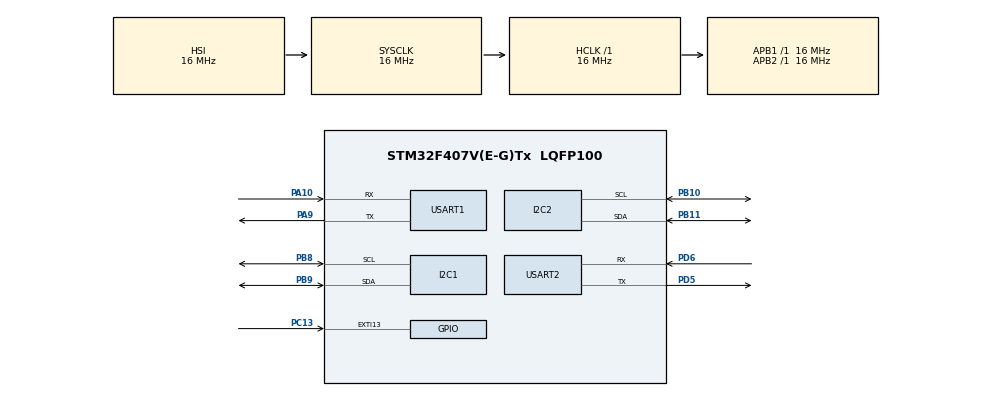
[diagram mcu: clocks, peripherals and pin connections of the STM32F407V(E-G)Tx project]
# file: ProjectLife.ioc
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Mcu.Family=STM32F4
Mcu.Name=STM32F407V(E-G)Tx
Mcu.Package=LQFP100
NVIC.EXTI15_10_IRQn=true\:0\:0\:false\:false\:true\:true\:true\:true
NVIC.PriorityGroup=NVIC_PRIORITYGROUP_4
NVIC.RTC_WKUP_IRQn=true\:0\:0\:false\:false\:true\:true\:true\:true
NVIC.TIM1_BRK_TIM9_IRQn=true\:0\:0\:false\:false\:true\:true\:true\:true
NVIC.TIM1_CC_IRQn=true\:0\:0\:false\:false\:true\:true\:true\:true
NVIC.TIM1_TRG_COM_TIM11_IRQn=true\:0\:0\:false\:false\:true\:true\:true\:true
NVIC.TIM1_UP_TIM10_IRQn=true\:0\:0\:false\:false\:true\:true\:true\:true
NVIC.USART2_IRQn=true\:0\:0\:false\:false\:true\:true\:true\:true
PA10.Mode=Asynchronous
PA10.Signal=USART1_RX
PA9.Mode=Asynchronous
PA9.Signal=USART1_TX
PB10.Mode=I2C
PB10.Signal=I2C2_SCL
PB11.Mode=I2C
PB11.Signal=I2C2_SDA
PB8.Mode=I2C
PB8.Signal=I2C1_SCL
PB9.Mode=I2C
PB9.Signal=I2C1_SDA
PC13-ANTI_TAMP.GPIO_PuPd=GPIO_PULLDOWN
PC13-ANTI_TAMP.Signal=GPXTI13
PD5.Mode=Asynchronous
PD5.Signal=USART2_TX
PD6.Mode=Asynchronous
PD6.Signal=USART2_RX
ProjectManager.HeapSize=0x800
ProjectManager.StackSize=0x800
ProjectManager.TargetToolchain=STM32CubeIDE
RCC.AHBFreq_Value=16000000
RCC.APB1Freq_Value=16000000
RCC.APB2Freq_Value=16000000
RCC.CortexFreq_Value=16000000
RCC.HSE_VALUE=25000000
RCC.HSI_VALUE=16000000
RCC.LSE_VALUE=32768
RCC.SYSCLKFreq_VALUE=16000000
RCC.VCOOutputFreq_Value=192000000
RTC.WakeUpCounter=0x500B
STMicroelectronics.X-CUBE-AI.7.3.0.ActivationBufferSizeList=1708
STMicroelectronics.X-CUBE-AI.7.3.0.ActivationBuffers=pool0
STMicroelectronics.X-CUBE-AI.7.3.0.ActivationNames=pool0
STMicroelectronics.X-CUBE-AI.7.3.0.ActivationSizes=AI_NETWORK_DATA_ACTIVATION_1_SIZE
STMicroelectronics.X-CUBE-AI.7.3.0.HeapSize=0x800
STMicroelectronics.X-CUBE-AI.7.3.0.InternalRamActivationBufferMaxSize=AI_NETWORK_DATA_ACTIVATIONS_SIZE
STMicroelectronics.X-CUBE-AI.7.3.0.LatestDirectoryUsed-63249d8577857bed8de1e4a876e3fa851de891baf00e79e736e3a9d4aee06afe=D\:\\UTM\\Sem1\\MKEL1123-05 ADVANCED MICROPROCESSOR SYSTEM\\Assignment_Video
STMicroelectronics.X-CUBE-AI.7.3.0.MaximumNumberOfInputLayer=1
STMicroelectronics.X-CUBE-AI.7.3.0.MaximumNumberOfOutputLayer=1
STMicroelectronics.X-CUBE-AI.7.3.0.MaximumSizeOfInputLayer=1
STMicroelectronics.X-CUBE-AI.7.3.0.MaximumSizeOfOutputLayer=1
STMicroelectronics.X-CUBE-AI.7.3.0.ModelActualCompression-63249d8577857bed8de1e4a876e3fa851de891baf00e79e736e3a9d4aee06afe=0.0
STMicroelectronics.X-CUBE-AI.7.3.0.ModelCompression-63249d8577857bed8de1e4a876e3fa851de891baf00e79e736e3a9d4aee06afe=None
STMicroelectronics.X-CUBE-AI.7.3.0.ModelFlashOccupation-63249d8577857bed8de1e4a876e3fa851de891baf00e79e736e3a9d4aee06afe=48300
STMicroelectronics.X-CUBE-AI.7.3.0.ModelHashList=63249d8577857bed8de1e4a876e3fa851de891baf00e79e736e3a9d4aee06afe
STMicroelectronics.X-CUBE-AI.7.3.0.ModelKind-63249d8577857bed8de1e4a876e3fa851de891baf00e79e736e3a9d4aee06afe=KERAS
STMicroelectronics.X-CUBE-AI.7.3.0.ModelMacc-63249d8577857bed8de1e4a876e3fa851de891baf00e79e736e3a9d4aee06afe=24120
STMicroelectronics.X-CUBE-AI.7.3.0.ModelName-63249d8577857bed8de1e4a876e3fa851de891baf00e79e736e3a9d4aee06afe=network
STMicroelectronics.X-CUBE-AI.7.3.0.ModelNameList=network
STMicroelectronics.X-CUBE-AI.7.3.0.ModelRamOccupation-63249d8577857bed8de1e4a876e3fa851de891baf00e79e736e3a9d4aee06afe=1708
STMicroelectronics.X-CUBE-AI.7.3.0.ModelStructureFile-63249d8577857bed8de1e4a876e3fa851de891baf00e79e736e3a9d4aee06afe=D\:\\UTM\\Sem1\\MKEL1123-05 ADVANCED MICROPROCESSOR SYSTEM\\Assignment_Video\\accelerometer_model.h5
STMicroelectronics.X-CUBE-AI.7.3.0.ModelType-63249d8577857bed8de1e4a876e3fa851de891baf00e79e736e3a9d4aee06afe=Saved model
STMicroelectronics.X-CUBE-AI.7.3.0.ReadyForCodeGeneration=true
STMicroelectronics.X-CUBE-AI.7.3.0.StackSize=0x800
STMicroelectronics.X-CUBE-AI.7.3.0.WorkingBufferStartAddrList=0xFFFFFFFF
STMicroelectronics.X-CUBE-AI.7.3.0.XAaCUBEAaAICcArtificialOoIntelligenceJjCore=true
STMicroelectronics.X-CUBE-AI.7.3.0.copyWeightToRam=false
STMicroelectronics.X-CUBE-AI.7.3.0.copyWeightToRam-63249d8577857bed8de1e4a876e3fa851de891baf00e79e736e3a9d4aee06afe=false
STMicroelectronics.X-CUBE-AI.7.3.0.customLayerConfigEnabled=false
STMicroelectronics.X-CUBE-AI.7.3.0.customLayerConfigEnabled-63249d8577857bed8de1e4a876e3fa851de891baf00e79e736e3a9d4aee06afe=false
STMicroelectronics.X-CUBE-AI.7.3.0.useInputAllocation=true
STMicroelectronics.X-CUBE-AI.7.3.0.useInputAllocation-63249d8577857bed8de1e4a876e3fa851de891baf00e79e736e3a9d4aee06afe=true
STMicroelectronics.X-CUBE-AI.7.3.0.useOutputAllocation=true
STMicroelectronics.X-CUBE-AI.7.3.0.useOutputAllocation-63249d8577857bed8de1e4a876e3fa851de891baf00e79e736e3a9d4aee06afe=true
TIM1.Period=50
TIM1.Prescaler=32000
USART1.VirtualMode=VM_ASYNC
USART2.VirtualMode=VM_ASYNC
VP_CRC_VS_CRC.Mode=CRC_Activate
VP_RTC_VS_RTC_Activate.Mode=RTC_Enabled
VP_RTC_VS_RTC_WakeUp_intern.Mode=WakeUp
VP_STMicroelectronics.X-CUBE-AI_VS_ArtificialOoIntelligenceJjXAaCUBEAaAI_7.3.0.Mode=ArtificialOoIntelligenceJjXAaCUBEAaAI
VP_TIM1_VS_ClockSourceINT.Mode=Internal
board=custom

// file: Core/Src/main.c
/* USER CODE BEGIN Header */
/**
  ******************************************************************************
  * @file           : main.c
  * @brief          : Main program body
  ******************************************************************************
  * @attention
  *
  * Copyright (c) 2023 STMicroelectronics.
  * All rights reserved.
  *
  * This software is licensed under terms that can be found in the LICENSE file
  * in the root directory of this software component.
  * If no LICENSE file comes with this software, it is provided AS-IS.
  *
  ******************************************************************************
  */
/* USER CODE END Header */
#include "main.h"

/* USER CODE BEGIN Includes */
#include <stdio.h>
#include <stdbool.h>
#include "MAX30102/MAX30102.h"
#include "ai_platform.h"
#include "network.h"
#include "network_data.h"
#include "EspDataLogger/espdatalogger.h"
/* USER CODE END Includes */

CRC_HandleTypeDef hcrc;

I2C_HandleTypeDef hi2c1;
I2C_HandleTypeDef hi2c2;

RTC_HandleTypeDef hrtc;

TIM_HandleTypeDef htim1;

UART_HandleTypeDef huart1;
UART_HandleTypeDef huart2;

/* USER CODE BEGIN PV */
//MPU6050 Gyroscope and Accelerometer Variables
#define MPU6050_ADDR 0xD0
#define SMPLRT_DIV_REG 0x19
#define GYRO_CONFIG_REG 0x1B
#define ACCEL_CONFIG_REG 0x1C
#define ACCEL_XOUT_H_REG 0x3B
#define TEMP_OUT_H_REG 0x41
#define GYRO_XOUT_H_REG 0x43
#define PWR_MGMT_1_REG 0x6B
#define WHO_AM_I_REG 0x75

int16_t Accel_X_RAW = 0;
int16_t Accel_Y_RAW = 0;
int16_t Accel_Z_RAW = 0;
float Ax, Ay, Az;

//UART Variables
uint8_t dataBuf [50] = {'\0'}; // variable to stored the data to be transmitted
bool buttonstate = true;

//AI Model Variables
ai_handle network;
float aiInData[AI_NETWORK_IN_1_SIZE];
float aiOutData[AI_NETWORK_OUT_1_SIZE];
ai_u8 activations[AI_NETWORK_DATA_ACTIVATIONS_SIZE];
const char* activities[AI_NETWORK_OUT_1_SIZE] = {
  "stationary", "walking", "running"
};
ai_buffer * ai_input;
ai_buffer * ai_output;

//MAX30102 Oximeter and Heart Rate Sensor Variables
int32_t HRData, SPO2Data = 0;
/* USER CODE END PV */

void SystemClock_Config(void);
static void MX_GPIO_Init(void);
static void MX_I2C1_Init(void);
static void MX_USART1_UART_Init(void);
static void MX_USART2_UART_Init(void);
static void MX_TIM1_Init(void);
static void MX_I2C2_Init(void);
static void MX_CRC_Init(void);
static void MX_RTC_Init(void);
/* USER CODE BEGIN PFP */
//MPU6050 Gyroscope and Accelerometer Functions
void MPU6050_Init (void);
void MPU6050_Read_Accel (void);
//AI Model Functions
static void AI_Init(void);
static void AI_Run(float *pIn, float *pOut);
static uint32_t argmax(const float * values, uint32_t len);
uint32_t write_index = 0;
//MAX30102 Oximeter and Heart Rate Sensor Functions
void MAX30102_PollingRoutine(void);
//Thingspeak Data Variable
uint32_t Value_Buf [4];
/* USER CODE END PFP */

int main(void)
{

  /* MCU Configuration--------------------------------------------------------*/

  /* Reset of all peripherals, Initializes the Flash interface and the Systick. */
  HAL_Init();

  /* Configure the system clock */
  SystemClock_Config();

  /* Initialize all configured peripherals */
  MX_GPIO_Init();
  MX_I2C1_Init();
  MX_USART1_UART_Init();
  MX_USART2_UART_Init();
  MX_TIM1_Init();
  MX_I2C2_Init();
  MX_CRC_Init();
  MX_RTC_Init();
  /* USER CODE BEGIN 2 */
  HAL_Delay(10000);
  //MPU6050 Gyroscope and Accelerometer Initialization
  bufclr((char*)dataBuf);
  sprintf ((char*)dataBuf, "MPU6050 Init\r\n");
  HAL_UART_Transmit (& huart1 , dataBuf , sizeof ( dataBuf ) , 50) ;
  MPU6050_Init();

  //MAX30102 Oximeter and Heart Rate Sensor Initialization
  bufclr((char*)dataBuf);
  sprintf ((char*)dataBuf, "MAX30102 Init\r\n");
  HAL_UART_Transmit (& huart1 , dataBuf , sizeof ( dataBuf ) , 50) ;
  Max30102_Init(&hi2c2);
  //AI Model Initialization
  bufclr((char*)dataBuf);
  sprintf ((char*)dataBuf, "AI Init\r\n");
  HAL_UART_Transmit (& huart1 , dataBuf , sizeof ( dataBuf ) , 50) ;
  AI_Init();
  //ESP8266 Initialization (SSID, PASSWORD)
  bufclr((char*)dataBuf);
  sprintf ((char*)dataBuf, "ESP WIFI Init\r\n");
  HAL_UART_Transmit (& huart1 , dataBuf , sizeof ( dataBuf ) , 50) ;
  ESP_Init("OnePlus", "123456789");
  bufclr((char*)dataBuf);
  sprintf ((char*)dataBuf, "MAX30102 Calibration\r\n");
  HAL_UART_Transmit (& huart1 , dataBuf , sizeof ( dataBuf ) , 50) ;
  while(HRData == 0){
	  MAX30102_PollingRoutine();
  }

  /* USER CODE END 2 */

  /* Infinite loop */
  while (1)
  {

    /* USER CODE BEGIN 3 */
	while (write_index < AI_NETWORK_IN_1_SIZE){

		MPU6050_Read_Accel(); // read acceleration data from MPU6050
		//sprintf ((char*)dataBuf, "Ax:%5d Ay:%5d Az:%5d\r\n", (int) Ax, (int) Ay, (int) Az);
		//HAL_UART_Transmit (& huart1 , dataBuf , sizeof ( dataBuf ) , 50) ; // transmit the data

		//while(SPO2Data == 0){
			MAX30102_PollingRoutine();
		//}

		/* Normalize data to [-1; 1] and accumulate into input buffer */
		/* Note: window overlapping can be managed here */
		aiInData[write_index + 0] = (float) Ax;
		aiInData[write_index + 1] = (float) Ay;
		aiInData[write_index + 2] = (float) Az;
		write_index += 3;

		if (write_index == AI_NETWORK_IN_1_SIZE) {
		  //write_index = 0;

		  bufclr((char*)dataBuf);
		  sprintf ((char*)dataBuf, "Running inference\r\n");
		  HAL_UART_Transmit (& huart1 , dataBuf , sizeof ( dataBuf ) , 50) ; // transmit the data
		  AI_Run(aiInData, aiOutData);

		  /* Output results */
		  for (uint32_t i = 0; i < AI_NETWORK_OUT_1_SIZE; i++) {
			bufclr((char*)dataBuf);
			sprintf ((char*)dataBuf, "%8.6f ", aiOutData[i]);
			HAL_UART_Transmit (& huart1 , dataBuf , sizeof ( dataBuf ) , 50) ; // transmit the data
		  }
		  uint32_t class = argmax(aiOutData, AI_NETWORK_OUT_1_SIZE);
		  bufclr((char*)dataBuf);
		  sprintf ((char*)dataBuf, ": %d - %s\r\n", (int) class, activities[class]);
		  HAL_UART_Transmit (& huart1 , dataBuf , sizeof ( dataBuf ) , 50) ; // transmit the data
		  Value_Buf[2] = class;
		}

		//Values to send to ThingSpeak
		  Value_Buf[0] = HRData;
		  Value_Buf[1] = SPO2Data;
		  Value_Buf[3] = buttonstate;
	}
	  //Refresh ai inference variable
	  write_index = 0;
	  bufclr((char*)dataBuf);
	  sprintf ((char*)dataBuf, "%d %d %d %d\r\n", (int)Value_Buf[0], (int)Value_Buf[1], (int)Value_Buf[2], (int)Value_Buf[3]);
	  HAL_UART_Transmit (& huart1 , dataBuf , sizeof ( dataBuf ) , 50);

	  // Thingspeak limitation - requires 15seconds before updating
	  if(buttonstate == false){
		  HAL_Delay(15000);
	  }

	  ESP_Send_Multi("E8OJOQ3OMRFVJZUP", 4, (int*)Value_Buf);

	  //Change Emergency Button state after uploading it to Thingspeak
	  if(buttonstate == false){
		  buttonstate = true;
	  }

	  //HAL_Delay (15000) ; // wait for 15s before reading the sensor again
	  bufclr((char*)dataBuf);
	  sprintf ((char*)dataBuf, "Enter STOP Mode\r\n");
	  HAL_UART_Transmit (& huart1 , dataBuf , sizeof ( dataBuf ) , 50);
	  //Power Enter Stop Mode - Wake up after 15 seconds
	  HAL_SuspendTick();
	  HAL_RTCEx_SetWakeUpTimer_IT(&hrtc, 0x7530, RTC_WAKEUPCLOCK_RTCCLK_DIV16);
	  HAL_PWREx_EnableFlashPowerDown();
	  HAL_PWR_EnterSTOPMode(PWR_LOWPOWERREGULATOR_ON, PWR_STOPENTRY_WFI);
	  HAL_RTCEx_DeactivateWakeUpTimer(&hrtc);
	  HAL_PWREx_DisableFlashPowerDown();
	  SystemClock_Config();
	  //Power Exit Stop Mode
	  HAL_ResumeTick();
	  bufclr((char*)dataBuf);
	  sprintf ((char*)dataBuf, "Exit STOP Mode\r\n");
	  HAL_UART_Transmit (& huart1 , dataBuf , sizeof ( dataBuf ) , 50);

  }
  /* USER CODE END 3 */
}

void SystemClock_Config(void)
{
  RCC_OscInitTypeDef RCC_OscInitStruct = {0};
  RCC_ClkInitTypeDef RCC_ClkInitStruct = {0};

  /** Configure the main internal regulator output voltage
  */
  __HAL_RCC_PWR_CLK_ENABLE();
  __HAL_PWR_VOLTAGESCALING_CONFIG(PWR_REGULATOR_VOLTAGE_SCALE1);

  /** Initializes the RCC Oscillators according to the specified parameters
  * in the RCC_OscInitTypeDef structure.
  */
  RCC_OscInitStruct.OscillatorType = RCC_OSCILLATORTYPE_HSI|RCC_OSCILLATORTYPE_LSI;
  RCC_OscInitStruct.HSIState = RCC_HSI_ON;
  RCC_OscInitStruct.HSICalibrationValue = RCC_HSICALIBRATION_DEFAULT;
  RCC_OscInitStruct.LSIState = RCC_LSI_ON;
  RCC_OscInitStruct.PLL.PLLState = RCC_PLL_NONE;
  if (HAL_RCC_OscConfig(&RCC_OscInitStruct) != HAL_OK)
  {
    Error_Handler();
  }

  /** Initializes the CPU, AHB and APB buses clocks
  */
  RCC_ClkInitStruct.ClockType = RCC_CLOCKTYPE_HCLK|RCC_CLOCKTYPE_SYSCLK
                              |RCC_CLOCKTYPE_PCLK1|RCC_CLOCKTYPE_PCLK2;
  RCC_ClkInitStruct.SYSCLKSource = RCC_SYSCLKSOURCE_HSI;
  RCC_ClkInitStruct.AHBCLKDivider = RCC_SYSCLK_DIV1;
  RCC_ClkInitStruct.APB1CLKDivider = RCC_HCLK_DIV1;
  RCC_ClkInitStruct.APB2CLKDivider = RCC_HCLK_DIV1;

  if (HAL_RCC_ClockConfig(&RCC_ClkInitStruct, FLASH_LATENCY_0) != HAL_OK)
  {
    Error_Handler();
  }
}

static void MX_CRC_Init(void)
{

  hcrc.Instance = CRC;
  if (HAL_CRC_Init(&hcrc) != HAL_OK)
  {
    Error_Handler();
  }

}

static void MX_I2C1_Init(void)
{

  hi2c1.Instance = I2C1;
  hi2c1.Init.ClockSpeed = 100000;
  hi2c1.Init.DutyCycle = I2C_DUTYCYCLE_2;
  hi2c1.Init.OwnAddress1 = 0;
  hi2c1.Init.AddressingMode = I2C_ADDRESSINGMODE_7BIT;
  hi2c1.Init.DualAddressMode = I2C_DUALADDRESS_DISABLE;
  hi2c1.Init.OwnAddress2 = 0;
  hi2c1.Init.GeneralCallMode = I2C_GENERALCALL_DISABLE;
  hi2c1.Init.NoStretchMode = I2C_NOSTRETCH_DISABLE;
  if (HAL_I2C_Init(&hi2c1) != HAL_OK)
  {
    Error_Handler();
  }

}

static void MX_I2C2_Init(void)
{

  hi2c2.Instance = I2C2;
  hi2c2.Init.ClockSpeed = 100000;
  hi2c2.Init.DutyCycle = I2C_DUTYCYCLE_2;
  hi2c2.Init.OwnAddress1 = 0;
  hi2c2.Init.AddressingMode = I2C_ADDRESSINGMODE_7BIT;
  hi2c2.Init.DualAddressMode = I2C_DUALADDRESS_DISABLE;
  hi2c2.Init.OwnAddress2 = 0;
  hi2c2.Init.GeneralCallMode = I2C_GENERALCALL_DISABLE;
  hi2c2.Init.NoStretchMode = I2C_NOSTRETCH_DISABLE;
  if (HAL_I2C_Init(&hi2c2) != HAL_OK)
  {
    Error_Handler();
  }

}

static void MX_RTC_Init(void)
{

  RTC_TimeTypeDef sTime = {0};
  RTC_DateTypeDef sDate = {0};

  /** Initialize RTC Only
  */
  hrtc.Instance = RTC;
  hrtc.Init.HourFormat = RTC_HOURFORMAT_24;
  hrtc.Init.AsynchPrediv = 127;
  hrtc.Init.SynchPrediv = 255;
  hrtc.Init.OutPut = RTC_OUTPUT_DISABLE;
  hrtc.Init.OutPutPolarity = RTC_OUTPUT_POLARITY_HIGH;
  hrtc.Init.OutPutType = RTC_OUTPUT_TYPE_OPENDRAIN;
  if (HAL_RTC_Init(&hrtc) != HAL_OK)
  {
    Error_Handler();
  }

  /** Initialize RTC and set the Time and Date
  */
  sTime.Hours = 0x0;
  sTime.Minutes = 0x0;
  sTime.Seconds = 0x0;
  sTime.DayLightSaving = RTC_DAYLIGHTSAVING_NONE;
  sTime.StoreOperation = RTC_STOREOPERATION_RESET;
  if (HAL_RTC_SetTime(&hrtc, &sTime, RTC_FORMAT_BCD) != HAL_OK)
  {
    Error_Handler();
  }
  sDate.WeekDay = RTC_WEEKDAY_MONDAY;
  sDate.Month = RTC_MONTH_JANUARY;
  sDate.Date = 0x1;
  sDate.Year = 0x0;

  if (HAL_RTC_SetDate(&hrtc, &sDate, RTC_FORMAT_BCD) != HAL_OK)
  {
    Error_Handler();
  }

  /** Enable the WakeUp
  */
  if (HAL_RTCEx_SetWakeUpTimer_IT(&hrtc, 0x500B, RTC_WAKEUPCLOCK_RTCCLK_DIV16) != HAL_OK)
  {
    Error_Handler();
  }

}

static void MX_TIM1_Init(void)
{

  TIM_ClockConfigTypeDef sClockSourceConfig = {0};
  TIM_MasterConfigTypeDef sMasterConfig = {0};

  htim1.Instance = TIM1;
  htim1.Init.Prescaler = 32000;
  htim1.Init.CounterMode = TIM_COUNTERMODE_UP;
  htim1.Init.Period = 50;
  htim1.Init.ClockDivision = TIM_CLOCKDIVISION_DIV1;
  htim1.Init.RepetitionCounter = 0;
  htim1.Init.AutoReloadPreload = TIM_AUTORELOAD_PRELOAD_DISABLE;
  if (HAL_TIM_Base_Init(&htim1) != HAL_OK)
  {
    Error_Handler();
  }
  sClockSourceConfig.ClockSource = TIM_CLOCKSOURCE_INTERNAL;
  if (HAL_TIM_ConfigClockSource(&htim1, &sClockSourceConfig) != HAL_OK)
  {
    Error_Handler();
  }
  sMasterConfig.MasterOutputTrigger = TIM_TRGO_RESET;
  sMasterConfig.MasterSlaveMode = TIM_MASTERSLAVEMODE_DISABLE;
  if (HAL_TIMEx_MasterConfigSynchronization(&htim1, &sMasterConfig) != HAL_OK)
  {
    Error_Handler();
  }

}

static void MX_USART1_UART_Init(void)
{

  huart1.Instance = USART1;
  huart1.Init.BaudRate = 115200;
  huart1.Init.WordLength = UART_WORDLENGTH_8B;
  huart1.Init.StopBits = UART_STOPBITS_1;
  huart1.Init.Parity = UART_PARITY_NONE;
  huart1.Init.Mode = UART_MODE_TX_RX;
  huart1.Init.HwFlowCtl = UART_HWCONTROL_NONE;
  huart1.Init.OverSampling = UART_OVERSAMPLING_16;
  if (HAL_UART_Init(&huart1) != HAL_OK)
  {
    Error_Handler();
  }

}

static void MX_USART2_UART_Init(void)
{

  huart2.Instance = USART2;
  huart2.Init.BaudRate = 115200;
  huart2.Init.WordLength = UART_WORDLENGTH_8B;
  huart2.Init.StopBits = UART_STOPBITS_1;
  huart2.Init.Parity = UART_PARITY_NONE;
  huart2.Init.Mode = UART_MODE_TX_RX;
  huart2.Init.HwFlowCtl = UART_HWCONTROL_NONE;
  huart2.Init.OverSampling = UART_OVERSAMPLING_16;
  if (HAL_UART_Init(&huart2) != HAL_OK)
  {
    Error_Handler();
  }

}

static void MX_GPIO_Init(void)
{
  GPIO_InitTypeDef GPIO_InitStruct = {0};

  /* GPIO Ports Clock Enable */
  __HAL_RCC_GPIOC_CLK_ENABLE();
  __HAL_RCC_GPIOB_CLK_ENABLE();
  __HAL_RCC_GPIOA_CLK_ENABLE();
  __HAL_RCC_GPIOD_CLK_ENABLE();

  /*Configure GPIO pin : PC13 */
  GPIO_InitStruct.Pin = GPIO_PIN_13;
  GPIO_InitStruct.Mode = GPIO_MODE_IT_RISING;
  GPIO_InitStruct.Pull = GPIO_PULLDOWN;
  HAL_GPIO_Init(GPIOC, &GPIO_InitStruct);

  /* EXTI interrupt init*/
  HAL_NVIC_SetPriority(EXTI15_10_IRQn, 0, 0);
  HAL_NVIC_EnableIRQ(EXTI15_10_IRQn);

}

/* USER CODE BEGIN 4 */

//MPU6050 Init Function
void MPU6050_Init (void)
{
	uint8_t check;
	uint8_t Data;

	// check device ID WHO_AM_I
	HAL_I2C_Mem_Read (&hi2c1, MPU6050_ADDR, WHO_AM_I_REG, 1, &check, 1, 1000);
	//checkGlobal = check;

	if (check == 104)  // 0x68 will be returned by the sensor if everything goes well
	{
		// power management register 0X6B we should write all 0's to wake the sensor up
		Data = 0;
		HAL_I2C_Mem_Write(&hi2c1, MPU6050_ADDR, PWR_MGMT_1_REG, 1, &Data, 1, 1000);

		// Set DATA RATE of 1KHz by writing SMPLRT_DIV register
		Data = 0x07;
		HAL_I2C_Mem_Write(&hi2c1, MPU6050_ADDR, SMPLRT_DIV_REG, 1, &Data, 1, 1000);

		// Set accelerometer configuration in ACCEL_CONFIG Register
		// XA_ST=0,YA_ST=0,ZA_ST=0, FS_SEL=0 -> ± 2g
		//Data = 0x00;
		Data = 0x18; //FS_SEL=3 -> ± 16g
		HAL_I2C_Mem_Write(&hi2c1, MPU6050_ADDR, ACCEL_CONFIG_REG, 1, &Data, 1, 1000);

		// Set Gyroscopic configuration in GYRO_CONFIG Register
		// XG_ST=0,YG_ST=0,ZG_ST=0, FS_SEL=0 -> ± 250 °/s
		Data = 0x00;
		HAL_I2C_Mem_Write(&hi2c1, MPU6050_ADDR, GYRO_CONFIG_REG, 1, &Data, 1, 1000);
	}
}
//MPU6050 Read Acceleration Data Function
void MPU6050_Read_Accel (void)
{
	uint8_t Rec_Data[6];
	// Read 6 BYTES of data starting from ACCEL_XOUT_H register
	HAL_I2C_Mem_Read (&hi2c1, MPU6050_ADDR, ACCEL_XOUT_H_REG, 1, Rec_Data, 6, 1000);

	Accel_X_RAW = (int16_t)(Rec_Data[0] << 8 | Rec_Data [1]);
	Accel_Y_RAW = (int16_t)(Rec_Data[2] << 8 | Rec_Data [3]);
	Accel_Z_RAW = (int16_t)(Rec_Data[4] << 8 | Rec_Data [5]);

	/*** convert the RAW values into acceleration in 'g'
	     we have to divide according to the Full scale value set in FS_SEL
	     configured FS_SEL = 0. So dividing by 16384.0
	     for more details check ACCEL_CONFIG Register ****/

	Ax = Accel_X_RAW;
	Ay = Accel_Y_RAW;
	Az = Accel_Z_RAW;
	//Ax = Accel_X_RAW/117;
	//Ay = Accel_Y_RAW/10;
	//Az = Accel_Z_RAW/15;
	Ax = Accel_X_RAW/2048;
    Ay = Accel_Y_RAW/2048;
    Az = Accel_Z_RAW/2048;
}

//MPU6050 Read Acceleration Data Function
void MAX30102_PollingRoutine (void)
{
		Max30102_Callback();
		Max30102_Task();

	if (Max30102_IsFingerOnSensor() == MAX30102_OK){
	  if (Max30102_GetHeartRateValid() == 1){
		  HRData = Max30102_GetHeartRate();
	  }
	  else{
		  HRData = 0;
	  }

	  if (Max30102_GetSpO2Valid() == 1){
		  SPO2Data = Max30102_GetSpO2Value();
	  }
	  else{
		  SPO2Data = 0;
	  }

	  if (HRData > 0 || SPO2Data > 0){
		  bufclr((char*)dataBuf);
		  sprintf((char*)dataBuf, "HR: %lu SpO2: %lu\n\r", HRData, SPO2Data);
		  HAL_UART_Transmit (&huart1 , dataBuf , sizeof ( dataBuf ) , 50) ; // transmit the data
	  }
	}
}

static void AI_Init(void)
{
  ai_error err;

  /* Create a local array with the addresses of the activations buffers */
  const ai_handle act_addr[] = { activations };
  /* Create an instance of the model */
  err = ai_network_create_and_init(&network, act_addr, NULL);
  if (err.type != AI_ERROR_NONE) {
    printf("ai_network_create error - type=%d code=%d\r\n", err.type, err.code);
    Error_Handler();
  }
  ai_input = ai_network_inputs_get(network, NULL);
  ai_output = ai_network_outputs_get(network, NULL);
}

static void AI_Run(float *pIn, float *pOut)
{
  ai_i32 batch;
  ai_error err;

  /* Update IO handlers with the data payload */
  ai_input[0].data = AI_HANDLE_PTR(pIn);
  ai_output[0].data = AI_HANDLE_PTR(pOut);

  batch = ai_network_run(network, ai_input, ai_output);
  if (batch != 1) {
    err = ai_network_get_error(network);
    printf("AI ai_network_run error - type=%d code=%d\r\n", err.type, err.code);
    Error_Handler();
  }
}

static uint32_t argmax(const float * values, uint32_t len)
{
  float max_value = values[0];
  uint32_t max_index = 0;
  for (uint32_t i = 1; i < len; i++) {
    if (values[i] > max_value) {
      max_value = values[i];
      max_index = i;
    }
  }
  return max_index;
}

void HAL_GPIO_EXTI_Callback(uint16_t GPIO_Pin)
{
	if(GPIO_Pin == GPIO_PIN_13 && buttonstate == true){
		HAL_TIM_Base_Start_IT(&htim1);
		buttonstate = false;
	}
	else{
		__NOP();
	}
}

void HAL_TIM_PeriodElapsedCallback(TIM_HandleTypeDef *htim)
{
  /* Prevent unused argument(s) compilation warning */
  UNUSED(htim);

  /* NOTE : This function should not be modified, when the callback is needed,
            the HAL_TIM_PeriodElapsedCallback could be implemented in the user file
   */
	if(HAL_GPIO_ReadPin(GPIOC, GPIO_PIN_13) == GPIO_PIN_RESET){
		//bufclr((char*)dataBuf);
		//sprintf((char*)dataBuf, "Button Pressed\r\n");
	    //HAL_UART_Transmit (& huart1 , dataBuf , sizeof ( dataBuf ), 50) ;
		//buttonstate = true;
		HAL_TIM_Base_Stop_IT(&htim1);
	}
}
/* USER CODE END 4 */

void Error_Handler(void)
{
  __disable_irq();
  while (1)
  {
  }
}
